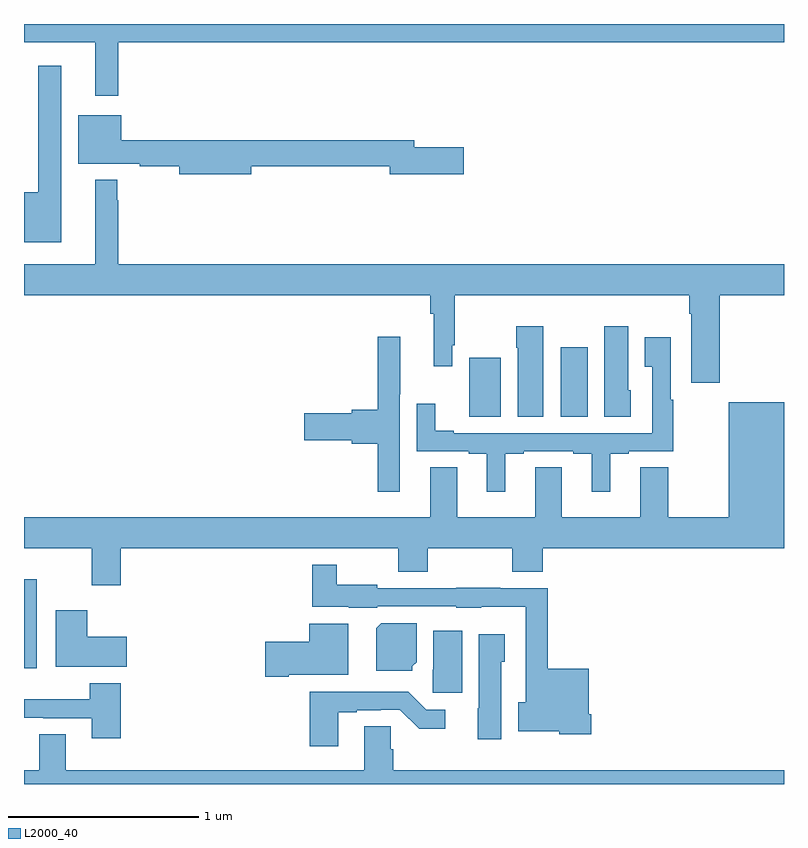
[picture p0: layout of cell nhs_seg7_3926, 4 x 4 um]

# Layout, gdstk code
import gdstk
lib = gdstk.Library(unit=1e-6, precision=1e-09)
def R(c, l, rs):  # rectangles x0, y0, x1, y1
    for r in rs: c.add(gdstk.rectangle(r[:2], r[2:], *l))
def P(c, l, *ps):  # polygons
    for p in ps: c.add(gdstk.Polygon(p, *l))
L2000_40 = (2000, 40)

nhs_seg7_3926 = lib.new_cell('nhs_seg7_3926')
R(nhs_seg7_3926, L2000_40, [(359,1042.608,359.068,1043.077), (361.343,1043.932,361.51,1044.244), (361.826,1043.932,361.966,1044.298)])
P(nhs_seg7_3926, L2000_40, [(363,1046),(359,1046),(359,1045.904),(359.375,1045.904),(359.375,1045.623),(359.497,1045.623),(359.497,1045.904),(363,1045.904)],
  [(359.197,1045.78),(359.076,1045.78),(359.076,1045.114),(359,1045.114),(359,1044.851),(359.197,1044.851)],
  [(360.196,1045.252),(360.926,1045.252),(360.926,1045.21),(361.315,1045.21),(361.315,1045.352),(361.054,1045.352),(361.054,1045.388),(359.512,1045.388),(359.512,1045.519),(359.285,1045.519),(359.285,1045.265),(359.608,1045.265),(359.608,1045.252),(359.816,1045.252),(359.816,1045.21),(360.196,1045.21)],
  [(362.661,1044.572),(363,1044.572),(363,1044.736),(359.497,1044.736),(359.497,1045.073),(359.49,1045.073),(359.49,1045.18),(359.375,1045.18),(359.375,1044.736),(359,1044.736),(359,1044.572),(361.138,1044.572),(361.138,1044.476),(361.157,1044.476),(361.157,1044.198),(361.254,1044.198),(361.254,1044.31),(361.267,1044.31),(361.267,1044.572),(362.501,1044.572),(362.501,1044.476),(362.513,1044.476),(362.513,1044.111),(362.661,1044.111)],
  [(361.732,1044.409),(361.591,1044.409),(361.591,1044.296),(361.598,1044.296),(361.598,1043.932),(361.732,1043.932)],
  [(362.194,1044.072),(362.179,1044.072),(362.179,1044.409),(362.054,1044.409),(362.054,1043.932),(362.194,1043.932)],
  [(360.978,1044.052),(360.98,1044.052),(360.98,1044.355),(360.862,1044.355),(360.862,1043.969),(360.726,1043.969),(360.726,1043.951),(360.474,1043.951),(360.474,1043.809),(360.726,1043.809),(360.726,1043.791),(360.862,1043.791),(360.862,1043.538),(360.978,1043.538)],
  [(361.534,1043.739),(361.63,1043.739),(361.63,1043.751),(361.892,1043.751),(361.892,1043.739),(361.988,1043.739),(361.988,1043.538),(362.086,1043.538),(362.086,1043.739),(362.182,1043.739),(362.182,1043.751),(362.416,1043.751),(362.416,1044.023),(362.403,1044.023),(362.403,1044.352),(362.267,1044.352),(362.267,1044.196),(362.307,1044.196),(362.307,1043.847),(361.261,1043.847),(361.261,1043.86),(361.165,1043.86),(361.165,1044.001),(361.068,1044.001),(361.068,1043.751),(361.34,1043.751),(361.34,1043.739),(361.436,1043.739),(361.436,1043.538),(361.534,1043.538)],
  [(359.51,1043.24),(360.97,1043.24),(360.97,1043.116),(361.125,1043.116),(361.125,1043.24),(361.57,1043.24),(361.57,1043.116),(361.73,1043.116),(361.73,1043.24),(363,1043.24),(363,1044.01),(362.708,1044.01),(362.708,1043.404),(362.391,1043.404),(362.391,1043.666),(362.243,1043.666),(362.243,1043.404),(361.831,1043.404),(361.831,1043.666),(361.691,1043.666),(361.691,1043.404),(361.279,1043.404),(361.279,1043.666),(361.139,1043.666),(361.139,1043.404),(359,1043.404),(359,1043.24),(359.357,1043.24),(359.357,1043.046),(359.51,1043.046)],
  [(361.985,1042.366),(361.972,1042.366),(361.972,1042.606),(361.757,1042.606),(361.757,1043.031),(361.507,1043.031),(361.507,1043.033),(361.275,1043.033),(361.275,1043.031),(360.858,1043.031),(360.858,1043.05),(360.646,1043.05),(360.646,1043.155),(360.517,1043.155),(360.517,1042.934),(360.708,1042.934),(360.708,1042.928),(360.858,1042.928),(360.858,1042.935),(361.275,1042.935),(361.275,1042.928),(361.407,1042.928),(361.407,1042.934),(361.641,1042.934),(361.641,1042.43),(361.601,1042.43),(361.601,1042.277),(361.818,1042.277),(361.818,1042.262),(361.985,1042.262)],
  [(359.542,1042.774),(359.332,1042.774),(359.332,1042.915),(359.168,1042.915),(359.168,1042.616),(359.542,1042.616)],
  [(361.044,1042.62),(361.066,1042.642),(361.066,1042.846),(360.88,1042.846),(360.854,1042.82),(360.854,1042.595),(361.044,1042.595)],
  [(360.393,1042.574),(360.706,1042.574),(360.706,1042.844),(360.5,1042.844),(360.5,1042.748),(360.27,1042.748),(360.27,1042.565),(360.393,1042.565)],
  [(361.306,1042.807),(361.154,1042.807),(361.154,1042.602),(361.15,1042.602),(361.15,1042.479),(361.306,1042.479)],
  [(361.513,1042.644),(361.531,1042.644),(361.531,1042.789),(361.394,1042.789),(361.394,1042.398),(361.388,1042.398),(361.388,1042.236),(361.513,1042.236)],
  [(359.51,1042.531),(359.345,1042.531),(359.345,1042.447),(359,1042.447),(359,1042.348),(359.002,1042.35),(359.101,1042.35),(359.101,1042.347),(359.357,1042.347),(359.357,1042.242),(359.51,1042.242)],
  [(360.655,1042.377),(360.751,1042.377),(360.751,1042.389),(360.878,1042.389),(360.878,1042.392),(360.978,1042.392),(361.081,1042.29),(361.216,1042.29),(361.216,1042.392),(361.116,1042.392),(361.022,1042.486),(360.503,1042.486),(360.503,1042.2),(360.655,1042.2)],
  [(363,1042.072),(360.944,1042.072),(360.944,1042.182),(360.93,1042.182),(360.93,1042.304),(360.791,1042.304),(360.791,1042.072),(359.221,1042.072),(359.221,1042.262),(359.081,1042.262),(359.081,1042.072),(359,1042.072),(359,1042),(363,1042)])

lib.write_gds('nhs_seg7_3926.gds')
